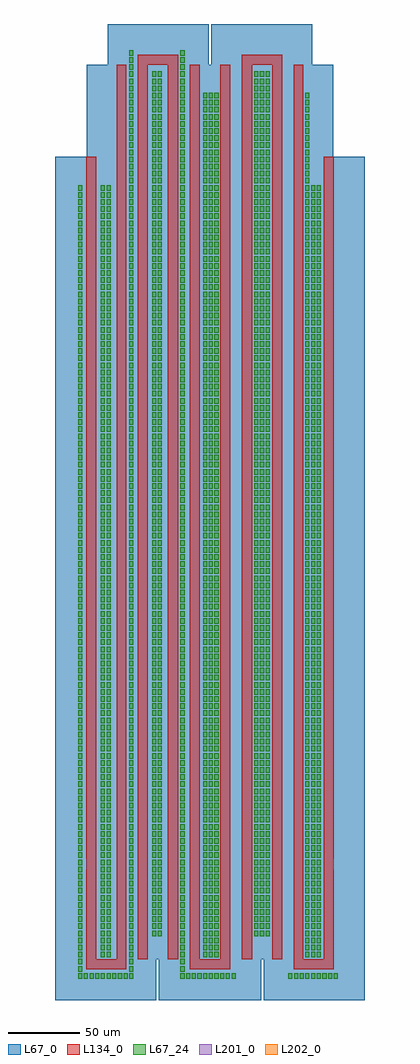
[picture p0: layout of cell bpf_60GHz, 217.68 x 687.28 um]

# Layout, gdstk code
from math import pi, radians
import gdstk
lib = gdstk.Library(unit=1e-6, precision=1e-09)
def R(c, l, rs):  # rectangles x0, y0, x1, y1
    for r in rs: c.add(gdstk.rectangle(r[:2], r[2:], *l))
L67_0 = (67, 0)
L67_24 = (67, 24)
L134_0 = (134, 0)
L201_0 = (201, 0)
L202_0 = (202, 0)

straight_gdsfactorypcomp = lib.new_cell('straight_gdsfactorypcomponentspwaveguidespstraight_L0_N_314f84cf')

c_straight_gdsfactorypcomp = lib.new_cell('straight_gdsfactorypcomponentspwaveguidespstraight_L0_N_18075a77')

tline_l0_scstopmetal2_ro = lib.new_cell('tline_L0_SCStopmetal2_routing_GCSmetal5_routing_WNone_Z50_N2')
tline_l0_scstopmetal2_ro.add(gdstk.Reference(straight_gdsfactorypcomp, (0,0)))
tline_l0_scstopmetal2_ro.add(gdstk.Reference(c_straight_gdsfactorypcomp, (0,0)))

c_straight_gdsfactorypcomp_ = lib.new_cell('straight_gdsfactorypcomponentspwaveguidespstraight_L564_cf52d864')
R(c_straight_gdsfactorypcomp_, L134_0, [(0,-3.6,564.88,3.6)])

c_straight_gdsfactorypcomp__ = lib.new_cell('straight_gdsfactorypcomponentspwaveguidespstraight_L564_3f046f5c')
R(c_straight_gdsfactorypcomp__, L67_0, [(0,-25.2,564.88,25.2)])

tline_l564p88_scstopmeta = lib.new_cell('tline_L564p88_SCStopmetal2_routing_GCSmetal5_routing_WN_25bad069')
tline_l564p88_scstopmeta.add(gdstk.Reference(c_straight_gdsfactorypcomp_, (0,0)))
tline_l564p88_scstopmeta.add(gdstk.Reference(c_straight_gdsfactorypcomp__, (0,0)))

coupler_tline_z59p399104 = lib.new_cell('coupler_tline_Z59p39910490797783_Z43p218888970013666_L6_e0c7d67c')
R(coupler_tline_z59p399104, L67_0, [(0,-32.04,629.68,32.04)])
R(coupler_tline_z59p399104, L134_0, [(0,-11.01,629.68,-4), (0,4,629.68,11.01)])

rectangle_gdsfactorypcom = lib.new_cell('rectangle_gdsfactorypcomponentspshapesprectangle_S7p2_7_2a688ad3')
R(rectangle_gdsfactorypcom, L134_0, [(0,0,7.2,7.2)])

unnamed_16 = lib.new_cell('Unnamed_16')
R(unnamed_16, L67_0, [(0,0,50.4,50.4)])

c__corner_rectangle_w7p2_l = lib.new_cell('_corner_rectangle_W7p2_L7p2_SCStopmetal2_routing_GCSmet_6323a6bc')
c__corner_rectangle_w7p2_l.add(gdstk.Reference(rectangle_gdsfactorypcom, (0,0)))
c__corner_rectangle_w7p2_l.add(gdstk.Reference(unnamed_16, (-21.6,-21.6)))

c_straight_gdsfactorypcomp___ = lib.new_cell('straight_gdsfactorypcomponentspwaveguidespstraight_L14p_563fd293')
R(c_straight_gdsfactorypcomp___, L134_0, [(0,-3.6,14.21,3.6)])

c_straight_gdsfactorypcomp____ = lib.new_cell('straight_gdsfactorypcomponentspwaveguidespstraight_L14p_ce07b875')
R(c_straight_gdsfactorypcomp____, L67_0, [(0,-25.2,14.21,25.2)])

tline_l14p21_scstopmetal = lib.new_cell('tline_L14p21_SCStopmetal2_routing_GCSmetal5_routing_WNone_Z50_N2')
tline_l14p21_scstopmetal.add(gdstk.Reference(c_straight_gdsfactorypcomp___, (0,0)))
tline_l14p21_scstopmetal.add(gdstk.Reference(c_straight_gdsfactorypcomp____, (0,0)))

c_rectangle_gdsfactorypcom = lib.new_cell('rectangle_gdsfactorypcomponentspshapesprectangle_S7p01__e21673f9')
R(c_rectangle_gdsfactorypcom, L134_0, [(0,0,7.01,7.2)])

unnamed_23 = lib.new_cell('Unnamed_23')
R(unnamed_23, L67_0, [(0,0,49.07,50.4)])

c__corner_rectangle_w7p2_l_ = lib.new_cell('_corner_rectangle_W7p2_L7p01_SCStopmetal2_routing_GCSme_94c09f05')
c__corner_rectangle_w7p2_l_.add(gdstk.Reference(c_rectangle_gdsfactorypcom, (0,0)))
c__corner_rectangle_w7p2_l_.add(gdstk.Reference(unnamed_23, (-21.03,-21.6)))

coupler_tline_z50p942735 = lib.new_cell('coupler_tline_Z50p94273534197933_Z49p09153411774667_L62_a02bfc2e')
R(coupler_tline_z50p942735, L67_0, [(0,-32.8,629.68,32.8)])
R(coupler_tline_z50p942735, L134_0, [(0,-11.2,629.68,-4), (0,4,629.68,11.2)])

c_straight_gdsfactorypcomp_____ = lib.new_cell('straight_gdsfactorypcomponentspwaveguidespstraight_L14p_055b01f6')
R(c_straight_gdsfactorypcomp_____, L134_0, [(0,-3.6,14.4,3.6)])

c_straight_gdsfactorypcomp______ = lib.new_cell('straight_gdsfactorypcomponentspwaveguidespstraight_L14p_2750b8ef')
R(c_straight_gdsfactorypcomp______, L67_0, [(0,-25.2,14.4,25.2)])

tline_l14p4_scstopmetal2 = lib.new_cell('tline_L14p4_SCStopmetal2_routing_GCSmetal5_routing_WNone_Z50_N2')
tline_l14p4_scstopmetal2.add(gdstk.Reference(c_straight_gdsfactorypcomp_____, (0,0)))
tline_l14p4_scstopmetal2.add(gdstk.Reference(c_straight_gdsfactorypcomp______, (0,0)))

c__slit_ground = lib.new_cell('_slit_ground')
R(c__slit_ground, L67_24, [(1.1,1.1,4,5)])

hairpin_coupled_line_ban = lib.new_cell('hairpin_coupled_line_bandpass_filter_O3_F60000000000_B1_a0e63b05')
hairpin_coupled_line_ban.add(gdstk.Reference(tline_l0_scstopmetal2_ro, (0,0)))
hairpin_coupled_line_ban.add(gdstk.Reference(tline_l564p88_scstopmeta, (3.6,497.995), rotation=3*pi/2))
hairpin_coupled_line_ban.add(gdstk.Reference(coupler_tline_z59p399104, (32.42,562.795), rotation=3*pi/2))
hairpin_coupled_line_ban.add(gdstk.Reference(c__corner_rectangle_w7p2_l, (0,-74.085)))
hairpin_coupled_line_ban.add(gdstk.Reference(tline_l14p21_scstopmetal, (7.2,-70.485)))
hairpin_coupled_line_ban.add(gdstk.Reference(c__corner_rectangle_w7p2_l_, (21.41,-74.085)))
hairpin_coupled_line_ban.add(gdstk.Reference(coupler_tline_z50p942735, (68.84,562.795), rotation=3*pi/2))
hairpin_coupled_line_ban.add(gdstk.Reference(c__corner_rectangle_w7p2_l_, (36.42,562.795)))
hairpin_coupled_line_ban.add(gdstk.Reference(tline_l14p21_scstopmetal, (43.43,566.395)))
hairpin_coupled_line_ban.add(gdstk.Reference(c__corner_rectangle_w7p2_l, (57.64,562.795)))
hairpin_coupled_line_ban.add(gdstk.Reference(coupler_tline_z50p942735, (105.64,562.795), rotation=3*pi/2))
hairpin_coupled_line_ban.add(gdstk.Reference(c__corner_rectangle_w7p2_l, (72.84,-74.085)))
hairpin_coupled_line_ban.add(gdstk.Reference(tline_l14p4_scstopmetal2, (80.04,-70.485)))
hairpin_coupled_line_ban.add(gdstk.Reference(c__corner_rectangle_w7p2_l, (94.44,-74.085)))
hairpin_coupled_line_ban.add(gdstk.Reference(coupler_tline_z59p399104, (142.06,562.795), rotation=3*pi/2))
hairpin_coupled_line_ban.add(gdstk.Reference(c__corner_rectangle_w7p2_l, (109.64,562.795)))
hairpin_coupled_line_ban.add(gdstk.Reference(tline_l14p21_scstopmetal, (116.84,566.395)))
hairpin_coupled_line_ban.add(gdstk.Reference(c__corner_rectangle_w7p2_l_, (131.05,562.795)))
hairpin_coupled_line_ban.add(gdstk.Reference(c__corner_rectangle_w7p2_l_, (146.06,-74.085)))
hairpin_coupled_line_ban.add(gdstk.Reference(tline_l14p21_scstopmetal, (153.07,-70.485)))
hairpin_coupled_line_ban.add(gdstk.Reference(c__corner_rectangle_w7p2_l, (167.28,-74.085)))
hairpin_coupled_line_ban.add(gdstk.Reference(tline_l564p88_scstopmeta, (170.88,497.995), rotation=3*pi/2, x_reflection=True))
hairpin_coupled_line_ban.add(gdstk.Reference(tline_l0_scstopmetal2_ro, (174.48,0)))
r = gdstk.Reference(c__slit_ground, (9.3,-66.785)); r.repetition = gdstk.Repetition(2, 63, v1=(4,0), v2=(0,5)); hairpin_coupled_line_ban.add(r)
r = gdstk.Reference(c__slit_ground, (-6.7,-81.785)); r.repetition = gdstk.Repetition(1, 66, v1=(0,0), v2=(0,5)); hairpin_coupled_line_ban.add(r)
r = gdstk.Reference(c__slit_ground, (-2.7,-81.785)); r.repetition = gdstk.Repetition(9, 1, v1=(4,0), v2=(0,0)); hairpin_coupled_line_ban.add(r)
r = gdstk.Reference(c__slit_ground, (29.3,-76.785)); r.repetition = gdstk.Repetition(1, 65, v1=(0,0), v2=(0,5)); hairpin_coupled_line_ban.add(r)
r = gdstk.Reference(c__slit_ground, (45.3,-51.785)); r.repetition = gdstk.Repetition(2, 60, v1=(4,0), v2=(0,5)); hairpin_coupled_line_ban.add(r)
r = gdstk.Reference(c__slit_ground, (81.3,-66.785)); r.repetition = gdstk.Repetition(3, 63, v1=(4,0), v2=(0,5)); hairpin_coupled_line_ban.add(r)
r = gdstk.Reference(c__slit_ground, (65.3,-81.785)); r.repetition = gdstk.Repetition(1, 66, v1=(0,0), v2=(0,5)); hairpin_coupled_line_ban.add(r)
r = gdstk.Reference(c__slit_ground, (69.3,-81.785)); r.repetition = gdstk.Repetition(9, 1, v1=(4,0), v2=(0,0)); hairpin_coupled_line_ban.add(r)
r = gdstk.Reference(c__slit_ground, (117.3,-51.785)); r.repetition = gdstk.Repetition(3, 60, v1=(4,0), v2=(0,5)); hairpin_coupled_line_ban.add(r)
r = gdstk.Reference(c__slit_ground, (153.3,-66.785)); r.repetition = gdstk.Repetition(3, 63, v1=(4,0), v2=(0,5)); hairpin_coupled_line_ban.add(r)
r = gdstk.Reference(c__slit_ground, (141.3,-81.785)); r.repetition = gdstk.Repetition(9, 1, v1=(4,0), v2=(0,0)); hairpin_coupled_line_ban.add(r)
r = gdstk.Reference(c__slit_ground, (-6.7,248.215)); r.repetition = gdstk.Repetition(1, 46, v1=(0,0), v2=(0,5)); hairpin_coupled_line_ban.add(r)
r = gdstk.Reference(c__slit_ground, (9.3,248.215)); r.repetition = gdstk.Repetition(2, 46, v1=(4,0), v2=(0,5)); hairpin_coupled_line_ban.add(r)
r = gdstk.Reference(c__slit_ground, (81.3,248.215)); r.repetition = gdstk.Repetition(3, 59, v1=(4,0), v2=(0,5)); hairpin_coupled_line_ban.add(r)
r = gdstk.Reference(c__slit_ground, (153.3,248.215)); r.repetition = gdstk.Repetition(1, 59, v1=(0,0), v2=(0,5)); hairpin_coupled_line_ban.add(r)
r = gdstk.Reference(c__slit_ground, (157.3,248.215)); r.repetition = gdstk.Repetition(2, 46, v1=(4,0), v2=(0,5)); hairpin_coupled_line_ban.add(r)
r = gdstk.Reference(c__slit_ground, (45.3,248.215)); r.repetition = gdstk.Repetition(2, 62, v1=(4,0), v2=(0,5)); hairpin_coupled_line_ban.add(r)
r = gdstk.Reference(c__slit_ground, (117.3,248.215)); r.repetition = gdstk.Repetition(3, 62, v1=(4,0), v2=(0,5)); hairpin_coupled_line_ban.add(r)
r = gdstk.Reference(c__slit_ground, (29.3,248.215)); r.repetition = gdstk.Repetition(1, 65, v1=(0,0), v2=(0,5)); hairpin_coupled_line_ban.add(r)
r = gdstk.Reference(c__slit_ground, (65.3,248.215)); r.repetition = gdstk.Repetition(1, 65, v1=(0,0), v2=(0,5)); hairpin_coupled_line_ban.add(r)

c_rectangle_gdsfactorypcom_ = lib.new_cell('rectangle_gdsfactorypcomponentspshapesprectangle_S0p1_7_a4c304ac')
R(c_rectangle_gdsfactorypcom_, L201_0, [(0,0,0.1,7.2)])

c_rectangle_gdsfactorypcom__ = lib.new_cell('rectangle_gdsfactorypcomponentspshapesprectangle_S0p1_7_f59edcc8')
R(c_rectangle_gdsfactorypcom__, L202_0, [(0,0,0.1,7.2)])

bpf_60ghz = lib.new_cell('bpf_60GHz')
bpf_60ghz.add(gdstk.Reference(hairpin_coupled_line_ban, (0,0)))
bpf_60ghz.add(gdstk.Reference(c_rectangle_gdsfactorypcom_, (0,-3.6)))
bpf_60ghz.add(gdstk.Reference(c_rectangle_gdsfactorypcom__, (174.38,-3.6)))

lib.write_gds('bpf_60GHz.gds')
